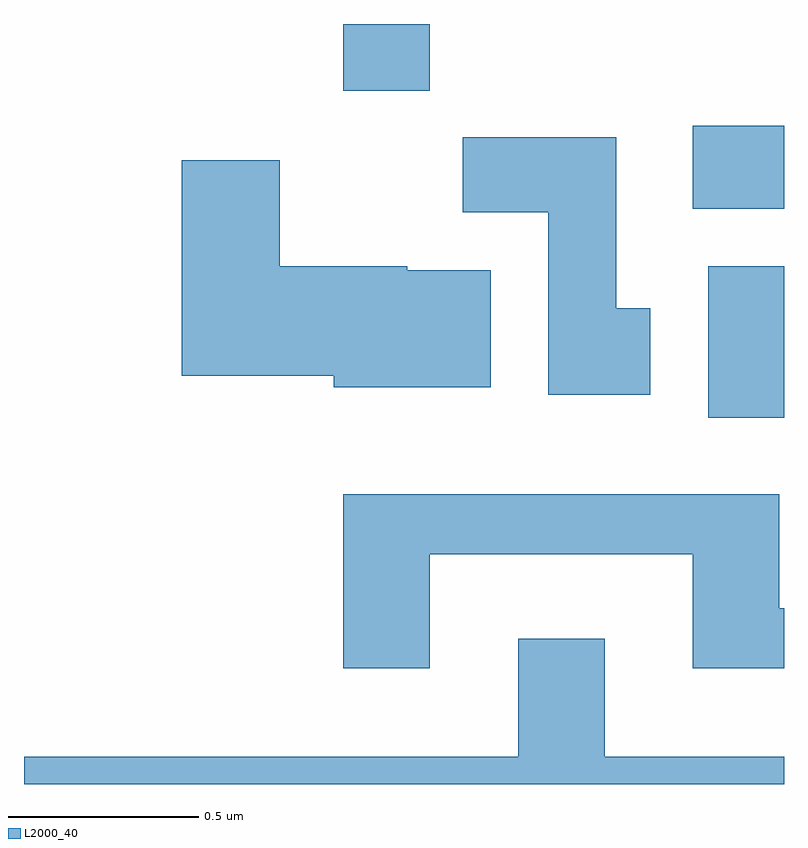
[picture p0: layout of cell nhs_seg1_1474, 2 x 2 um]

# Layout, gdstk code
import gdstk
lib = gdstk.Library(unit=1e-6, precision=1e-09)
def R(c, l, rs):  # rectangles x0, y0, x1, y1
    for r in rs: c.add(gdstk.rectangle(r[:2], r[2:], *l))
def P(c, l, *ps):  # polygons
    for p in ps: c.add(gdstk.Polygon(p, *l))
L2000_40 = (2000, 40)

nhs_seg1_1474 = lib.new_cell('nhs_seg1_1474')
R(nhs_seg1_1474, L2000_40, [(197.411,960.676,197.611,961.074), (197.371,961.226,197.611,961.444), (196.451,961.536,196.679,961.712)])
P(nhs_seg1_1474, L2000_40, [(197.259,960.964),(197.169,960.964),(197.169,961.414),(196.766,961.414),(196.766,961.216),(196.991,961.216),(196.991,960.736),(197.259,960.736)],
  [(196.839,961.064),(196.62,961.064),(196.62,961.074),(196.284,961.074),(196.284,961.354),(196.026,961.354),(196.026,960.786),(196.426,960.786),(196.426,960.756),(196.839,960.756)],
  [(196.679,960.316),(197.371,960.316),(197.371,960.016),(197.611,960.016),(197.611,960.174),(197.599,960.174),(197.599,960.474),(196.451,960.474),(196.451,960.016),(196.679,960.016)],
  [(197.611,959.784),(197.139,959.784),(197.139,960.094),(196.911,960.094),(196.911,959.784),(195.611,959.784),(195.611,959.712),(197.611,959.712)])

lib.write_gds('nhs_seg1_1474.gds')
